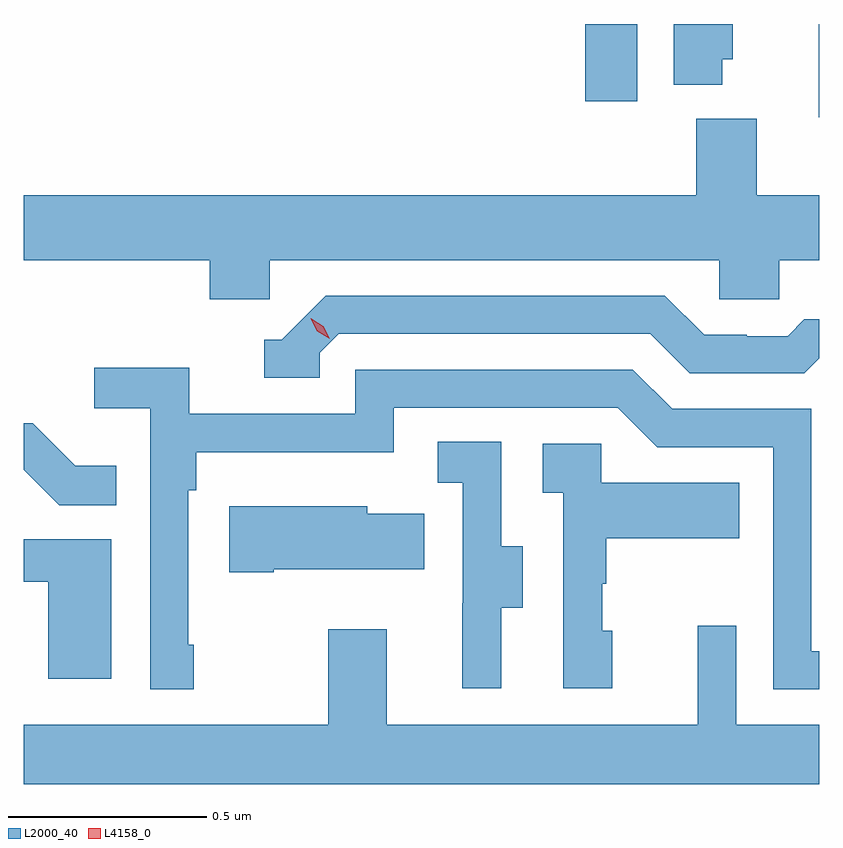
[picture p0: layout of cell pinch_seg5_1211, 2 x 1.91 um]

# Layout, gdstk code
import gdstk
lib = gdstk.Library(unit=1e-6, precision=1e-09)
def R(c, l, rs):  # rectangles x0, y0, x1, y1
    for r in rs: c.add(gdstk.rectangle(r[:2], r[2:], *l))
def P(c, l, *ps):  # polygons
    for p in ps: c.add(gdstk.Polygon(p, *l))
L2000_40 = (2000, 40)
L4158_0 = (4158, 0)

pinch_seg5_1211 = lib.new_cell('pinch_seg5_1211')
R(pinch_seg5_1211, L2000_40, [(880.789,834.475,880.79,834.71), (880.202,834.516,880.333,834.71)])
P(pinch_seg5_1211, L2000_40, [(880.546,834.621),(880.573,834.621),(880.573,834.71),(880.424,834.71),(880.424,834.557),(880.546,834.557)],
  [(879.408,834.116),(880.539,834.116),(880.539,834.018),(880.689,834.018),(880.689,834.116),(880.79,834.116),(880.79,834.28),(880.633,834.28),(880.633,834.472),(880.481,834.472),(880.481,834.28),(878.79,834.28),(878.79,834.116),(879.257,834.116),(879.257,834.018),(879.408,834.018)],
  [(879.534,833.883),(879.582,833.931),(880.365,833.931),(880.464,833.832),(880.753,833.832),(880.79,833.869),(880.79,833.968),(880.753,833.968),(880.711,833.925),(880.608,833.925),(880.608,833.928),(880.501,833.928),(880.402,834.027),(879.549,834.027),(879.438,833.916),(879.395,833.916),(879.395,833.82),(879.534,833.82)],
  [(879.217,833.149),(879.204,833.149),(879.204,833.537),(879.224,833.537),(879.224,833.633),(879.72,833.633),(879.72,833.745),(880.284,833.745),(880.383,833.646),(880.674,833.646),(880.674,833.037),(880.79,833.037),(880.79,833.133),(880.77,833.133),(880.77,833.742),(880.42,833.742),(880.321,833.841),(879.624,833.841),(879.624,833.73),(879.206,833.73),(879.206,833.846),(878.967,833.846),(878.967,833.744),(879.108,833.744),(879.108,833.037),(879.217,833.037)],
  [(879.023,833.599),(878.919,833.599),(878.812,833.706),(878.79,833.706),(878.79,833.589),(878.879,833.5),(879.023,833.5)],
  [(879.991,833.242),(880.045,833.242),(880.045,833.397),(879.99,833.397),(879.99,833.66),(879.831,833.66),(879.831,833.557),(879.894,833.557),(879.894,833.253),(879.893,833.253),(879.893,833.04),(879.991,833.04)],
  [(880.27,833.184),(880.245,833.184),(880.245,833.303),(880.255,833.303),(880.255,833.417),(880.589,833.417),(880.589,833.557),(880.242,833.557),(880.242,833.655),(880.095,833.655),(880.095,833.531),(880.146,833.531),(880.146,833.04),(880.27,833.04)],
  [(879.418,833.339),(879.797,833.339),(879.797,833.479),(879.654,833.479),(879.654,833.497),(879.306,833.497),(879.306,833.332),(879.418,833.332)],
  [(879.01,833.415),(878.79,833.415),(878.79,833.307),(878.852,833.307),(878.852,833.064),(879.01,833.064)],
  [(880.484,833.197),(880.484,832.948),(879.703,832.948),(879.703,833.188),(879.556,833.188),(879.556,832.948),(878.79,832.948),(878.79,832.799),(880.79,832.799),(880.79,832.948),(880.581,832.948),(880.581,833.197)])
P(pinch_seg5_1211, L4158_0, [(879.559,833.918),(879.528,833.937),(879.511,833.969),(879.511,833.97),(879.512,833.97),(879.543,833.95),(879.559,833.918),(879.559,833.918)])

lib.write_gds('pinch_seg5_1211.gds')
